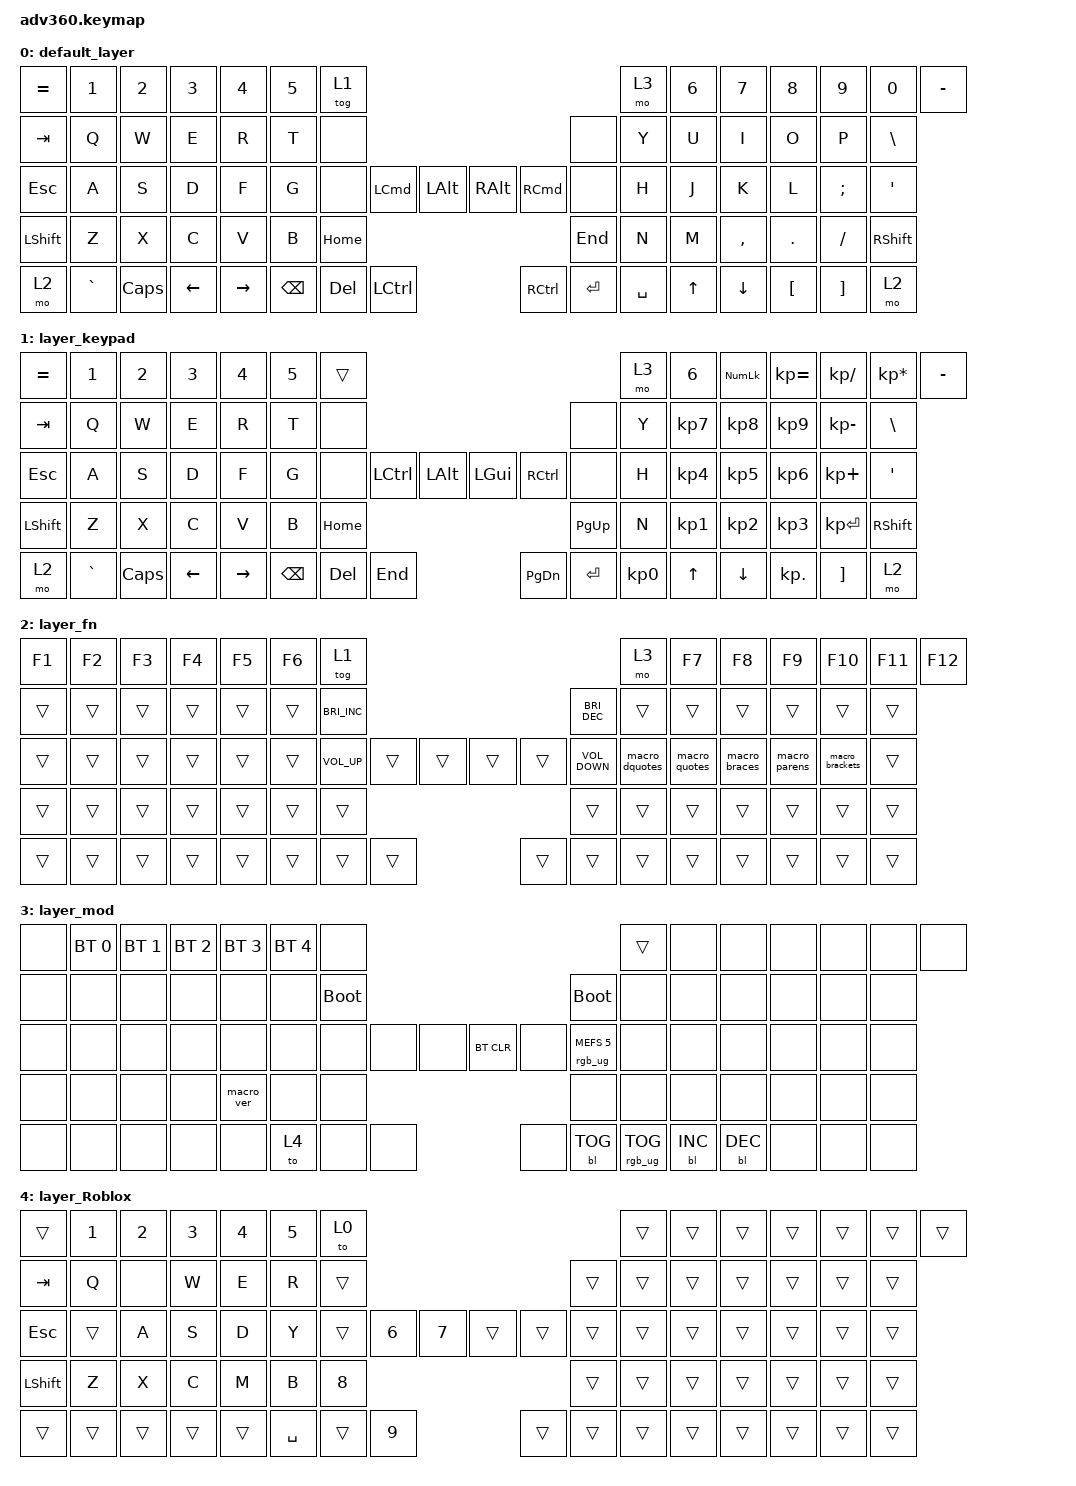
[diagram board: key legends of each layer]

/*
 * Copyright (c) 2020 The ZMK Contributors
 *
 * SPDX-License-Identifier: MIT
 */


/* THIS FILE WAS GENERATED!
 *
 * This file was generated automatically. You may or may not want to
 * edit it directly.
 */

#include <behaviors.dtsi>
#include <dt-bindings/zmk/keys.h>
#include <dt-bindings/zmk/bt.h>
#include <dt-bindings/zmk/rgb.h>
#include <dt-bindings/zmk/backlight.h>

/ {
  behaviors {
    #include "macros.dtsi"
    #include "version.dtsi"

    hm: homerow_mods {
        compatible = "zmk,behavior-hold-tap";
        label = "HOMEROW_MODS";
        #binding-cells = <2>;
        tapping-term-ms = <200>;
        quick_tap_ms = <175>;
        flavor = "tap-preferred";
        bindings = <&kp>, <&kp>;
    };
  };

    keymap {
        compatible = "zmk,keymap";


        default_layer {
            bindings = <
 &kp EQUAL     &kp N1    &kp N2    &kp N3     &kp N4  &kp N5              &tog 1                                                                                                &mo 3  &kp N6  &kp N7     &kp N8    &kp N9    &kp N0  &kp MINUS
   &kp TAB      &kp Q     &kp W     &kp E      &kp R   &kp T               &none                                                                                                &none   &kp Y   &kp U      &kp I     &kp O     &kp P   &kp BSLH
   &kp ESC      &kp A     &kp S     &kp D      &kp F   &kp G               &none  &kp LEFT_COMMAND          &kp LALT                           &kp RALT  &kp RIGHT_COMMAND      &none   &kp H   &kp J      &kp K     &kp L  &kp SEMI    &kp SQT
 &kp LSHFT      &kp Z     &kp X     &kp C      &kp V   &kp B                                                &kp HOME                            &kp END                                 &kp N   &kp M  &kp COMMA   &kp DOT  &kp FSLH  &kp RSHFT
     &mo 2  &kp GRAVE  &kp CAPS  &kp LEFT  &kp RIGHT                    &kp BSPC           &kp DEL  &kp LEFT_CONTROL                  &kp RIGHT_CONTROL          &kp ENTER  &kp SPACE          &kp UP   &kp DOWN  &kp LBKT  &kp RBKT      &mo 2
            >;
        };

        layer_keypad {
            bindings = <
 &kp EQUAL     &kp N1    &kp N2    &kp N3     &kp N4  &kp N5              &trans                                                                 &mo 3  &kp N6  &kp KP_NUM  &kp KP_EQUAL  &kp KP_DIVIDE  &kp KP_MULTIPLY  &kp MINUS
   &kp TAB      &kp Q     &kp W     &kp E      &kp R   &kp T               &none                                                                 &none   &kp Y   &kp KP_N7     &kp KP_N8      &kp KP_N9     &kp KP_MINUS   &kp BSLH
   &kp ESC      &kp A     &kp S     &kp D      &kp F   &kp G               &none  &kp LCTRL  &kp LALT                   &kp LGUI  &kp RCTRL      &none   &kp H   &kp KP_N4     &kp KP_N5      &kp KP_N6      &kp KP_PLUS    &kp SQT
 &kp LSHFT      &kp Z     &kp X     &kp C      &kp V   &kp B                                 &kp HOME                  &kp PG_UP                         &kp N   &kp KP_N1     &kp KP_N2      &kp KP_N3     &kp KP_ENTER  &kp RSHFT
     &mo 2  &kp GRAVE  &kp CAPS  &kp LEFT  &kp RIGHT                    &kp BSPC    &kp DEL   &kp END                  &kp PG_DN  &kp ENTER  &kp KP_N0              &kp UP      &kp DOWN     &kp KP_DOT         &kp RBKT      &mo 2
            >;
        };

        layer_fn {
            bindings = <
 &kp F1  &kp F2  &kp F3  &kp F4  &kp F5  &kp F6                          &tog 1                                                                 &mo 3          &kp F7         &kp F8         &kp F9        &kp F10          &kp F11  &kp F12
 &trans  &trans  &trans  &trans  &trans  &trans            &kp C_BRIGHTNESS_INC                                                  &kp C_BRIGHTNESS_DEC          &trans         &trans         &trans         &trans           &trans   &trans
 &trans  &trans  &trans  &trans  &trans  &trans                 &kp C_VOLUME_UP  &trans  &trans                  &trans  &trans     &kp C_VOLUME_DOWN  &macro_dquotes  &macro_quotes  &macro_braces  &macro_parens  &macro_brackets   &trans
 &trans  &trans  &trans  &trans  &trans  &trans                                          &trans                  &trans                                        &trans         &trans         &trans         &trans           &trans   &trans
 &trans  &trans  &trans  &trans  &trans                                  &trans  &trans  &trans                  &trans  &trans                &trans                         &trans         &trans         &trans           &trans   &trans
            >;
        };

        layer_mod {
            bindings = <
  &none  &bt BT_SEL 0  &bt BT_SEL 1  &bt BT_SEL 2  &bt BT_SEL 3  &bt BT_SEL 4                  &none                                                                          &trans   &none       &none       &none   &none   &none   &none
  &none         &none         &none         &none         &none         &none            &bootloader                                                                     &bootloader   &none       &none       &none   &none   &none   &none
  &none         &none         &none         &none         &none         &none                  &none   &none   &none                  &bt BT_CLR       &none  &rgb_ug RGB_MEFS_CMD 5   &none       &none       &none   &none   &none   &none
  &none         &none         &none         &none    &macro_ver         &none                                  &none                       &none                                       &none       &none       &none   &none   &none   &none
  &none         &none         &none         &none         &none                                &to 4   &none   &none                       &none  &bl BL_TOG         &rgb_ug RGB_TOG          &bl BL_INC  &bl BL_DEC   &none   &none   &none
            >;
        };

        layer_Roblox {
            bindings = <
     &trans  &kp NUMBER_1  &kp NUMBER_2  &kp NUMBER_3  &kp NUMBER_4  &kp NUMBER_5                &to 0                                                              &trans  &trans  &trans  &trans  &trans  &trans  &trans
    &kp TAB         &kp Q         &none         &kp W         &kp E         &kp R               &trans                                                              &trans  &trans  &trans  &trans  &trans  &trans  &trans
    &kp ESC        &trans         &kp A         &kp S         &kp D         &kp Y               &trans  &kp NUMBER_6  &kp NUMBER_7                  &trans  &trans  &trans  &trans  &trans  &trans  &trans  &trans  &trans
 &kp LSHIFT         &kp Z         &kp X         &kp C         &kp M         &kp B                                     &kp NUMBER_8                  &trans                  &trans  &trans  &trans  &trans  &trans  &trans
     &trans        &trans        &trans        &trans        &trans                          &kp SPACE        &trans  &kp NUMBER_9                  &trans  &trans  &trans          &trans  &trans  &trans  &trans  &trans
            >;
        };

    };
};
